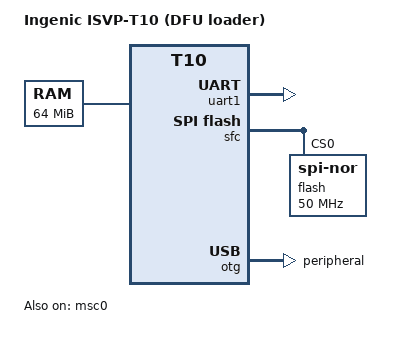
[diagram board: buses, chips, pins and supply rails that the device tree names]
// SPDX-License-Identifier: GPL-2.0+
/*
 * Ingenic ISVP-T10, DFU/USB-boot loader variant.
 *
 * Identical to t10-isvp.dts except the DWC2 OTG is dr_mode =
 * "peripheral" so the dwc2_udc_otg gadget binds (dwc2_udc_otg_bind
 * rejects "host"). Used only by isvp_t10_usbboot_defconfig - the
 * dev/flash loader that USB-boots and auto-enters DFU. Production
 * NOR uses t10-isvp.dts (dr_mode="host" for USB host + USB-NIC).
 */

/dts-v1/;

#include <dt-bindings/gpio/gpio.h>
#include "t10.dtsi"

/ {
	compatible = "ingenic,isvp-t10", "ingenic,t10";
	model = "Ingenic ISVP-T10 (DFU loader)";

	aliases {
		serial1 = &uart1;
	};

	chosen {
		stdout-path = "serial1:115200n8";
	};

	memory {
		device_type = "memory";
		reg = <0x0 0x04000000>;	/* 64 MB DDR2 (T10N) */
	};
};

&uart1 {
	status = "okay";
};

&sfc {
	status = "okay";

	flash@0 {
		compatible = "jedec,spi-nor";
		reg = <0>;
		spi-max-frequency = <50000000>;
	};
};

&msc0 {
	status = "okay";
	bus-width = <4>;
	broken-cd;
};

&otg {
	status = "okay";
	dr_mode = "peripheral";		/* gadget bind for DFU/g_dnl */
};

&ddr {
	/* T10N: DDR2 64 MB M14D5121632A (4-bank), CPU 860 / DDR 400 MHz. */
	ingenic,sdram-params = <
		0x04708900 0x06405100 0x9a0b5510	/* APLL860 MPLL1200 CPCCR */
		0x04000000				/* 64 MB */
		0x0a688a40 0x000020fc 0x00002400	/* CFG MMAP0 MMAP1 */
		0x040d0606 0x02120607 0x20060418	/* TIMING1..3 */
		0x14240031 0xff060505 0x32120505	/* TIMING4..6 */
		0x00000002 0x3092667a 0x002a0090	/* DCR DTPR0 DTPR1 */
		0x03020d0c 0x07060504 0x0b0a0908	/* REMAP1..3 */
		0x0f0e0100 0x13121110			/* REMAP4..5 */
		2					/* cdr (DDR = MPLL/3 = 400) */
		0x00c20001				/* REFCNT */
		0x00000a73 0x00220014 0x05013880	/* MR0 PTR0 PTR1 */
	>;
};
